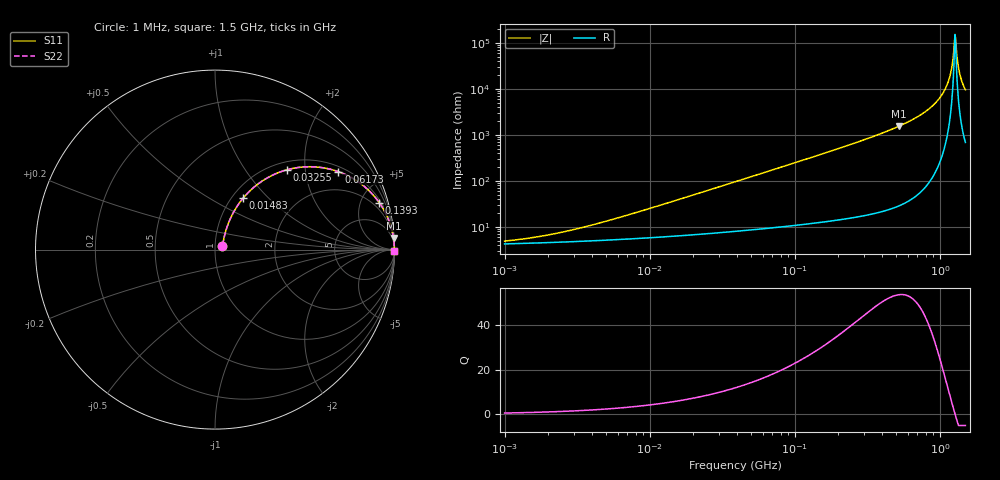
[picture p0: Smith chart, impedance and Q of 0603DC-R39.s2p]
# MHz  S  MA  R  50
!Freq  MagS11  AngS11  MagS21  AngS21  MagS12  AngS12  MagS22  AngS22
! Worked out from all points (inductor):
!   801 points, 1 MHz to 1.5 GHz, reference 50 ohm
!   read as one part in series: L = 390 nH near 6.635 MHz
!   highest Q = 53.8 at 524.2 MHz (marker M1), where L = 469 nH
!   self-resonance near 1.272 GHz
!   S11 on the Smith chart (normalised r, x): 1 MHz: 1.09, +0.05; 14.83 MHz: 1.13, +0.73; 32.55 MHz: 1.15, +1.60; 61.73 MHz: 1.18, +3.03; 139.3 MHz: 1.24, +6.91; 1.5 GHz: open
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1  0.04723 28.5  0.9587 -1.3  0.9587 -1.3  0.04723 28.5
3.404045  0.09183 55.2  0.9505 -4.5  0.9505 -4.5  0.09183 55.2
11.48208  0.2624 63.1  0.912 -14.9  0.912 -14.9  0.2624 63.1
14.83145  0.3284 61.3  0.8901 -18.9  0.8901 -18.9  0.3284 61.3
32.55468  0.5984 48.0  0.7463 -36.6  0.7463 -36.6  0.5984 48.0
38.72983  0.6628 43.9  0.6953 -41.3  0.6953 -41.3  0.6628 43.9
61.73358  0.813 32.3  0.5352 -54.2  0.5352 -54.2  0.813 32.3
131.8381  0.9466 16.8  0.2897 -71.1  0.2897 -71.1  0.9466 16.8
139.2713  0.9517 16.0  0.2754 -72.0  0.2754 -72.0  0.9517 16.0
444.6989  0.9952 4.6  0.0802 -84.3  0.0802 -84.3  0.9952 4.6
524.2376  0.9967 3.7  0.06445 -85.2  0.06445 -85.2  0.9967 3.7
783.8143  0.9988 1.9  0.03233 -86.9  0.03233 -86.9  0.9988 1.9
1003.243  0.9993 0.9  0.01546 -86.8  0.01546 -86.8  0.9993 0.9
1089.274  0.9993 0.6  0.0101 -85.9  0.0101 -85.9  0.9993 0.6
1150.689  0.9994 0.4  0.006571 -84.1  0.006571 -84.1  0.9994 0.4
1193.544  0.9994 0.2  0.004241 -81.2  0.004241 -81.2  0.9994 0.2
1237.995  0.9994 0.1  0.00196 -70.7  0.00196 -70.7  0.9994 0.1
1272.416  0.9993 0.0  0.000662 -8.3  0.000662 -8.3  0.9993 0.0
1307.795  0.9993 -0.1  0.001789 68.0  0.001789 68.0  0.9993 -0.1
1356.501  0.9993 -0.2  0.00406 80.0  0.00406 80.0  0.9993 -0.2
1394.217  0.9993 -0.3  0.005804 82.7  0.005804 82.7  0.9993 -0.3
1500  0.9992 -0.6  0.0105 85.3  0.0105 85.3  0.9992 -0.6
